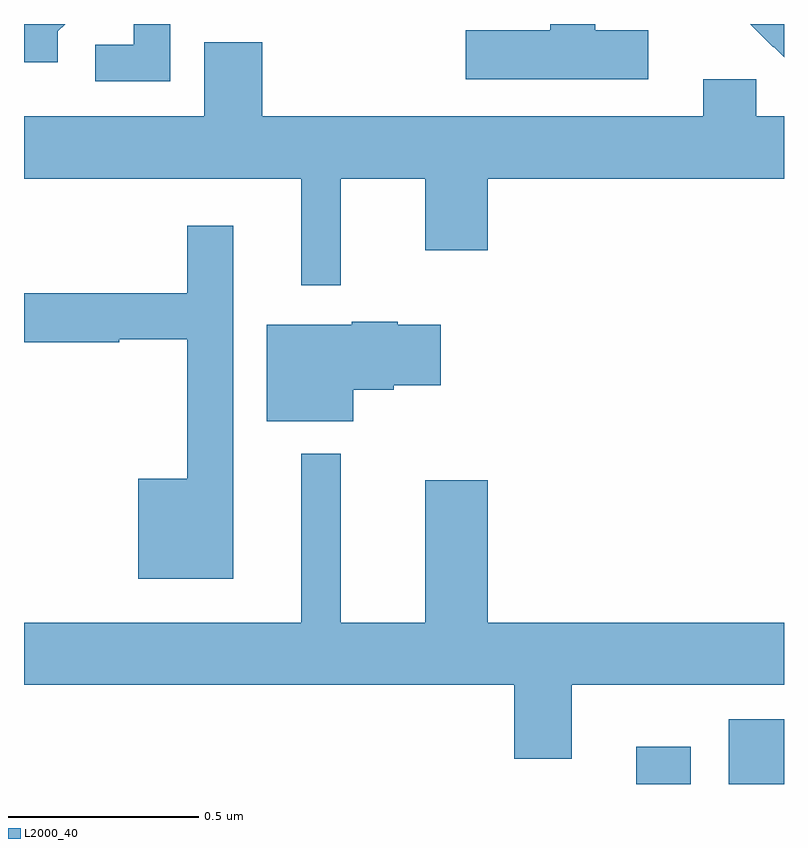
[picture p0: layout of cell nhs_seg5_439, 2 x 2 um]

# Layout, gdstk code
import gdstk
lib = gdstk.Library(unit=1e-6, precision=1e-09)
def R(c, l, rs):  # rectangles x0, y0, x1, y1
    for r in rs: c.add(gdstk.rectangle(r[:2], r[2:], *l))
def P(c, l, *ps):  # polygons
    for p in ps: c.add(gdstk.Polygon(p, *l))
L2000_40 = (2000, 40)

nhs_seg5_439 = lib.new_cell('nhs_seg5_439')
R(nhs_seg5_439, L2000_40, [(117.611,889.799,117.754,889.897), (117.854,889.799,118,889.969)])
P(nhs_seg5_439, L2000_40, [(116.089,891.78),(116.108,891.799),(116,891.799),(116,891.698),(116.089,891.698)],
  [(118,891.799),(117.911,891.799),(117.972,891.738),(117.973,891.739),(118,891.712)],
  [(116.385,891.799),(116.289,891.799),(116.289,891.744),(116.187,891.744),(116.187,891.648),(116.385,891.648)],
  [(117.643,891.783),(117.503,891.783),(117.503,891.799),(117.385,891.799),(117.385,891.783),(117.162,891.783),(117.162,891.653),(117.643,891.653)],
  [(116.833,891.392),(117.056,891.392),(117.056,891.204),(117.22,891.204),(117.22,891.392),(118,891.392),(118,891.556),(117.927,891.556),(117.927,891.654),(117.788,891.654),(117.788,891.556),(116.627,891.556),(116.627,891.751),(116.474,891.751),(116.474,891.556),(116,891.556),(116,891.392),(116.729,891.392),(116.729,891.111),(116.833,891.111)],
  [(116.551,891.268),(116.43,891.268),(116.43,891.091),(116,891.091),(116,890.962),(116.251,890.962),(116.251,890.97),(116.43,890.97),(116.43,890.602),(116.3,890.602),(116.3,890.339),(116.551,890.339)],
  [(116.866,890.837),(116.973,890.837),(116.973,890.849),(117.097,890.849),(117.097,891.007),(116.984,891.007),(116.984,891.015),(116.862,891.015),(116.862,891.007),(116.639,891.007),(116.639,890.753),(116.866,890.753)],
  [(117.442,890.06),(118,890.06),(118,890.224),(117.22,890.224),(117.22,890.599),(117.056,890.599),(117.056,890.224),(116.833,890.224),(116.833,890.668),(116.729,890.668),(116.729,890.224),(116,890.224),(116,890.06),(117.29,890.06),(117.29,889.866),(117.442,889.866)])

lib.write_gds('nhs_seg5_439.gds')
